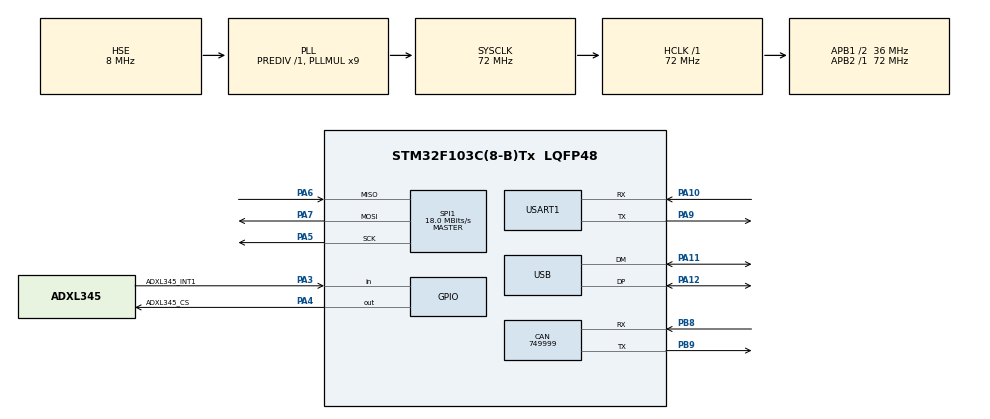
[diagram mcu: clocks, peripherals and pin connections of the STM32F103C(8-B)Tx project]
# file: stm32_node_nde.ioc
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CAN.CalculateBaudRate=749999
CAN.CalculateTimeBit=1333
CAN.CalculateTimeQuantum=444.44444444444446
Mcu.Family=STM32F1
Mcu.Name=STM32F103C(8-B)Tx
Mcu.Package=LQFP48
NVIC.PriorityGroup=NVIC_PRIORITYGROUP_4
PA10.Mode=Asynchronous
PA10.Signal=USART1_RX
PA11.Mode=Device
PA11.Signal=USB_DM
PA12.Mode=Device
PA12.Signal=USB_DP
PA13.Mode=Serial_Wire
PA13.Signal=SYS_JTMS-SWDIO
PA14.Mode=Serial_Wire
PA14.Signal=SYS_JTCK-SWCLK
PA3.GPIO_Label=ADXL345_INT1
PA3.GPIO_PuPd=GPIO_PULLDOWN
PA3.Signal=GPIO_Input
PA4.GPIO_Label=ADXL345_CS
PA4.Signal=GPIO_Output
PA5.Mode=Full_Duplex_Master
PA5.Signal=SPI1_SCK
PA6.Mode=Full_Duplex_Master
PA6.Signal=SPI1_MISO
PA7.Mode=Full_Duplex_Master
PA7.Signal=SPI1_MOSI
PA9.Mode=Asynchronous
PA9.Signal=USART1_TX
PB8.Mode=CAN_Activate
PB8.Signal=CAN_RX
PB9.Mode=CAN_Activate
PB9.Signal=CAN_TX
PD0-OSC_IN.Mode=HSE-External-Oscillator
PD0-OSC_IN.Signal=RCC_OSC_IN
PD1-OSC_OUT.Mode=HSE-External-Oscillator
PD1-OSC_OUT.Signal=RCC_OSC_OUT
ProjectManager.HeapSize=0x200
ProjectManager.StackSize=0x400
ProjectManager.TargetToolchain=STM32CubeIDE
RCC.AHBFreq_Value=72000000
RCC.APB1CLKDivider=RCC_HCLK_DIV2
RCC.APB1Freq_Value=36000000
RCC.APB1TimFreq_Value=72000000
RCC.APB2Freq_Value=72000000
RCC.APB2TimFreq_Value=72000000
RCC.HCLKFreq_Value=72000000
RCC.HSE_VALUE=8000000
RCC.HSI_VALUE=8000000
RCC.PLLMCO2Div=2
RCC.PLLMUL=RCC_PLL_MUL9
RCC.PLLSourceVirtual=RCC_PLLSOURCE_HSE
RCC.SYSCLKFreq_VALUE=72000000
RCC.SYSCLKSource=RCC_SYSCLKSOURCE_PLLCLK
RCC.USBFreq_Value=48000000
RCC.USBPrescaler=RCC_USBCLKSOURCE_PLL_DIV1_5
SPI1.BaudRatePrescaler=SPI_BAUDRATEPRESCALER_4
SPI1.CalculateBaudRate=18.0 MBits/s
SPI1.Direction=SPI_DIRECTION_2LINES
SPI1.Mode=SPI_MODE_MASTER
SPI1.VirtualType=VM_MASTER
USART1.VirtualMode=VM_ASYNC
board=custom

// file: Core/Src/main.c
/* USER CODE BEGIN Header */
/**
  ******************************************************************************
  * @file           : main.c
  * @brief          : Main program body
  ******************************************************************************
  * @attention
  *
  * Copyright (c) 2026 STMicroelectronics.
  * All rights reserved.
  *
  * This software is licensed under terms that can be found in the LICENSE file
  * in the root directory of this software component.
  * If no LICENSE file comes with this software, it is provided AS-IS.
  *
  ******************************************************************************
  */
/* USER CODE END Header */
#include "main.h"
#include "can.h"
#include "spi.h"
#include "usart.h"
#include "usb.h"
#include "gpio.h"

/* USER CODE BEGIN Includes */
#include "../../App/app_main.h"
/* USER CODE END Includes */

void SystemClock_Config(void);
/* USER CODE BEGIN PFP */
static void MX_IWDG_Init(void);
/* USER CODE END PFP */

/* USER CODE BEGIN 0 */

/*
 * IWDG init: LSI 40kHz, prescaler 64 → 625Hz, reload 1875 → 3s timeout.
 * Direct register access — STM32F1 HAL v1.8.6 has no IWDG HAL driver.
 */
#define IWDG_PR_DIV64     0x04  /* prescaler /64 */
#define IWDG_KR_UNLOCK    0x5555
#define IWDG_KR_START     0xCCCC
#define IWDG_KR_RELOAD    0xAAAA

static void MX_IWDG_Init(void)
{
	/* Unlock PR and RLR registers */
	IWDG->KR = IWDG_KR_UNLOCK;

	/* Prescaler: LSI 40kHz / 64 = 625Hz */
	IWDG->PR = IWDG_PR_DIV64;

	/* Reload: 3s × 625Hz = 1875 */
	IWDG->RLR = 1875;

	/* Wait for register update */
	while (IWDG->SR != 0x00)
		;

	/* Start the watchdog */
	IWDG->KR = IWDG_KR_START;

	/* Feed initial count */
	IWDG->KR = IWDG_KR_RELOAD;
}

/* USER CODE END 0 */

int main(void)
{

  /* MCU Configuration--------------------------------------------------------*/

  /* Reset of all peripherals, Initializes the Flash interface and the Systick. */
  HAL_Init();

  /* Configure the system clock */
  SystemClock_Config();

  /* Initialize all configured peripherals */
  MX_GPIO_Init();
  MX_CAN_Init();
  MX_USB_PCD_Init();
  MX_SPI1_Init();
  MX_USART1_UART_Init();
  /* USER CODE BEGIN 2 */
  MX_IWDG_Init();
  if (app_nde_init() < 0)
	  Error_Handler();
  /* USER CODE END 2 */

  /* Infinite loop */
  while (1)
  {

    /* USER CODE BEGIN 3 */
    app_nde_loop();
  }
  /* USER CODE END 3 */
}

void SystemClock_Config(void)
{
  RCC_OscInitTypeDef RCC_OscInitStruct = {0};
  RCC_ClkInitTypeDef RCC_ClkInitStruct = {0};
  RCC_PeriphCLKInitTypeDef PeriphClkInit = {0};

  /** Initializes the RCC Oscillators according to the specified parameters
  * in the RCC_OscInitTypeDef structure.
  */
  RCC_OscInitStruct.OscillatorType = RCC_OSCILLATORTYPE_HSE;
  RCC_OscInitStruct.HSEState = RCC_HSE_ON;
  RCC_OscInitStruct.HSEPredivValue = RCC_HSE_PREDIV_DIV1;
  RCC_OscInitStruct.HSIState = RCC_HSI_ON;
  RCC_OscInitStruct.PLL.PLLState = RCC_PLL_ON;
  RCC_OscInitStruct.PLL.PLLSource = RCC_PLLSOURCE_HSE;
  RCC_OscInitStruct.PLL.PLLMUL = RCC_PLL_MUL9;
  if (HAL_RCC_OscConfig(&RCC_OscInitStruct) != HAL_OK)
  {
    Error_Handler();
  }

  /** Initializes the CPU, AHB and APB buses clocks
  */
  RCC_ClkInitStruct.ClockType = RCC_CLOCKTYPE_HCLK|RCC_CLOCKTYPE_SYSCLK
                              |RCC_CLOCKTYPE_PCLK1|RCC_CLOCKTYPE_PCLK2;
  RCC_ClkInitStruct.SYSCLKSource = RCC_SYSCLKSOURCE_PLLCLK;
  RCC_ClkInitStruct.AHBCLKDivider = RCC_SYSCLK_DIV1;
  RCC_ClkInitStruct.APB1CLKDivider = RCC_HCLK_DIV2;
  RCC_ClkInitStruct.APB2CLKDivider = RCC_HCLK_DIV1;

  if (HAL_RCC_ClockConfig(&RCC_ClkInitStruct, FLASH_LATENCY_2) != HAL_OK)
  {
    Error_Handler();
  }
  PeriphClkInit.PeriphClockSelection = RCC_PERIPHCLK_USB;
  PeriphClkInit.UsbClockSelection = RCC_USBCLKSOURCE_PLL_DIV1_5;
  if (HAL_RCCEx_PeriphCLKConfig(&PeriphClkInit) != HAL_OK)
  {
    Error_Handler();
  }
}

void Error_Handler(void)
{
  __disable_irq();
  while (1)
  {
  }
}
